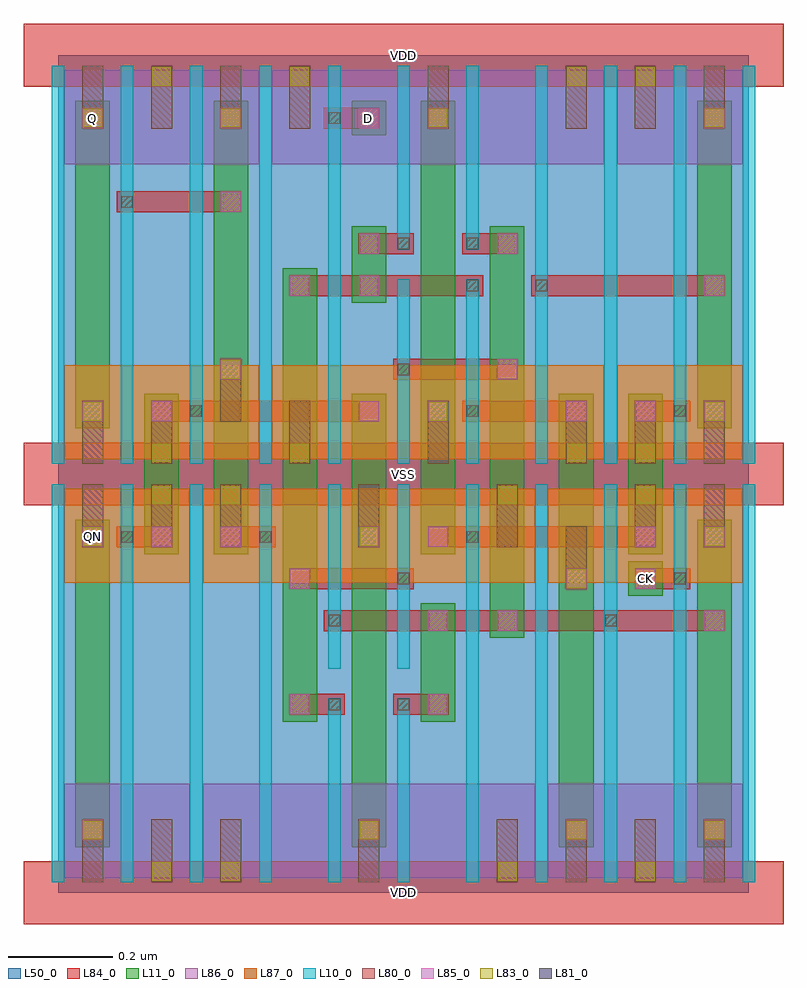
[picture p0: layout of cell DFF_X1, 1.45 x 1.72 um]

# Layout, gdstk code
import gdstk
lib = gdstk.Library(unit=1e-6, precision=1e-09)
def R(c, l, rs):  # rectangles x0, y0, x1, y1
    for r in rs: c.add(gdstk.rectangle(r[:2], r[2:], *l))
def A(c, l, x, y, w, h, nx, ny, dx, dy):  # array of equal rectangles
    R(c, l, [(x+i*dx, y+j*dy, x+i*dx+w, y+j*dy+h) for i in range(nx) for j in range(ny)])
L10_0 = (10, 0)
L11_0 = (11, 0)
L50_0 = (50, 0)
L80_0 = (80, 0)
L81_0 = (81, 0)
L83_0 = (83, 0)
L84_0 = (84, 0)
L85_0 = (85, 0)
L86_0 = (86, 0)
L87_0 = (87, 0)

dff_x1 = lib.new_cell('DFF_X1')
A(dff_x1, L10_0, -0.012, 0.02, 0.024, 0.76, 4, 1, 0.132, 0)
A(dff_x1, L10_0, 0.78, 0.02, 0.024, 0.76, 5, 1, 0.132, 0)
A(dff_x1, L10_0, -0.012, 0.82, 0.024, 0.76, 5, 1, 0.132, 0)
A(dff_x1, L10_0, 0.912, 0.82, 0.024, 0.76, 4, 1, 0.132, 0)
R(dff_x1, L10_0, [(0.516,0.02,0.54,0.372), (0.648,0.02,0.672,0.372), (0.516,0.428,0.54,0.78), (0.648,0.428,0.672,0.78), (0.648,0.82,0.672,1.172), (0.78,0.82,0.804,1.172), (0.648,1.228,0.672,1.58), (0.78,1.228,0.804,1.58)])
R(dff_x1, L11_0, [(0.033,0.087,0.099,0.713), (0.561,0.087,0.627,0.953), (0.957,0.087,1.023,0.953), (1.221,0.087,1.287,0.713), (0.429,0.327,0.495,1.193), (0.693,0.327,0.759,0.553), (0.825,0.487,0.891,1.273), (1.089,0.567,1.155,0.633), (0.165,0.647,0.231,0.953), (0.297,0.647,0.363,1.513), (0.693,0.647,0.759,1.513), (1.089,0.647,1.155,0.953), (0.033,0.887,0.099,1.513), (1.221,0.887,1.287,1.513), (0.561,1.127,0.627,1.273), (0.561,1.447,0.627,1.513)])
R(dff_x1, L50_0, [(0,0,1.32,1.6)])
A(dff_x1, L80_0, 0.046, 0.02, 0.04, 0.12, 3, 2, 0.132, 0.64)
A(dff_x1, L80_0, 0.838, 0.02, 0.04, 0.12, 4, 1, 0.132, 0)
A(dff_x1, L80_0, 0.574, 0.66, 0.04, 0.12, 3, 1, 0.264, 0)
A(dff_x1, L80_0, 0.178, 0.82, 0.04, 0.12, 4, 1, 0.264, 0)
A(dff_x1, L80_0, 0.046, 1.46, 0.04, 0.12, 4, 1, 0.132, 0)
A(dff_x1, L80_0, 0.97, 1.46, 0.04, 0.12, 3, 1, 0.132, 0)
R(dff_x1, L80_0, [(0.574,0.02,0.614,0.14), (0.97,0.58,1.01,0.7), (1.234,0.66,1.274,0.78), (0.046,0.82,0.086,0.94), (1.102,0.82,1.142,0.94), (1.234,0.82,1.274,0.94), (0.31,0.9,0.35,1.02), (0.706,1.46,0.746,1.58)])
A(dff_x1, L81_0, 0.781, 0.669, 0.022, 0.022, 1, 3, 0, 0.24)
R(dff_x1, L81_0, [(0.517,0.349,0.539,0.371), (0.649,0.349,0.671,0.371), (0.517,0.509,0.539,0.531), (1.045,0.509,1.067,0.531), (0.649,0.589,0.671,0.611), (1.177,0.589,1.199,0.611), (0.121,0.669,0.143,0.691), (0.385,0.669,0.407,0.691), (0.253,0.909,0.275,0.931), (1.177,0.909,1.199,0.931), (0.649,0.989,0.671,1.011), (0.913,1.149,0.935,1.171), (0.649,1.229,0.671,1.251), (0.781,1.229,0.803,1.251), (0.121,1.309,0.143,1.331), (0.517,1.469,0.539,1.491)])
R(dff_x1, L83_0, [(0.18,0.022,0.216,0.058), (0.312,0.022,0.348,0.058), (0.84,0.022,0.876,0.058), (1.104,0.022,1.14,0.058), (0.048,0.102,0.084,0.138), (0.576,0.102,0.612,0.138), (0.972,0.102,1.008,0.138), (1.236,0.102,1.272,0.138), (0.972,0.582,1.008,0.618), (0.048,0.662,0.084,0.698), (0.576,0.662,0.612,0.698), (1.236,0.662,1.272,0.698), (0.18,0.742,0.216,0.778), (0.312,0.742,0.348,0.778), (0.84,0.742,0.876,0.778), (1.104,0.742,1.14,0.778), (0.18,0.822,0.216,0.858), (0.444,0.822,0.48,0.858), (0.972,0.822,1.008,0.858), (1.104,0.822,1.14,0.858), (0.048,0.902,0.084,0.938), (0.708,0.902,0.744,0.938), (1.236,0.902,1.272,0.938), (0.312,0.982,0.348,1.018), (0.048,1.462,0.084,1.498), (0.312,1.462,0.348,1.498), (0.708,1.462,0.744,1.498), (1.236,1.462,1.272,1.498), (0.18,1.542,0.216,1.578), (0.444,1.542,0.48,1.578), (0.972,1.542,1.008,1.578), (1.104,1.542,1.14,1.578)])
A(dff_x1, L84_0, -0.066, -0.06, 1.452, 0.12, 1, 3, 0, 0.8)
R(dff_x1, L84_0, [(0.046,0.1,0.086,0.14), (0.574,0.1,0.614,0.14), (0.97,0.1,1.01,0.14), (1.234,0.1,1.274,0.14), (0.442,0.34,0.548,0.38), (0.64,0.34,0.746,0.38), (0.508,0.5,1.274,0.54), (0.442,0.58,0.68,0.62), (0.97,0.58,1.01,0.62), (1.102,0.58,1.208,0.62), (0.046,0.66,0.086,0.7), (0.112,0.66,0.218,0.7), (0.31,0.66,0.416,0.7), (0.574,0.66,0.614,0.7), (0.706,0.66,1.142,0.7), (1.234,0.66,1.274,0.7), (0.046,0.9,0.086,0.94), (0.178,0.9,0.614,0.94), (0.706,0.9,0.746,0.94), (0.772,0.9,1.01,0.94), (1.102,0.9,1.208,0.94), (1.234,0.9,1.274,0.94), (0.31,0.98,0.35,1.02), (0.64,0.98,0.878,1.02), (0.442,1.14,0.812,1.18), (0.904,1.14,1.274,1.18), (0.574,1.22,0.68,1.26), (0.772,1.22,0.878,1.26), (0.112,1.3,0.35,1.34), (0.046,1.46,0.086,1.5), (0.31,1.46,0.35,1.5), (0.508,1.46,0.614,1.5), (0.706,1.46,0.746,1.5), (1.234,1.46,1.274,1.5)])
A(dff_x1, L85_0, 0.707, 0.341, 0.038, 0.038, 1, 3, 0, 0.16)
A(dff_x1, L85_0, 0.047, 0.661, 0.038, 0.038, 3, 1, 0.132, 0)
A(dff_x1, L85_0, 0.575, 0.661, 0.038, 0.038, 1, 3, 0, 0.24)
A(dff_x1, L85_0, 0.971, 0.901, 0.038, 0.038, 3, 1, 0.132, 0)
A(dff_x1, L85_0, 0.047, 1.461, 0.038, 0.038, 3, 1, 0.264, 0)
R(dff_x1, L85_0, [(0.047,0.101,0.085,0.139), (0.575,0.101,0.613,0.139), (0.971,0.101,1.009,0.139), (1.235,0.101,1.273,0.139), (0.443,0.341,0.481,0.379), (0.839,0.501,0.877,0.539), (1.235,0.501,1.273,0.539), (0.443,0.581,0.481,0.619), (0.971,0.581,1.009,0.619), (1.103,0.581,1.141,0.619), (1.103,0.661,1.141,0.699), (1.235,0.661,1.273,0.699), (0.047,0.901,0.085,0.939), (0.179,0.901,0.217,0.939), (0.707,0.901,0.745,0.939), (0.311,0.981,0.349,1.019), (0.839,0.981,0.877,1.019), (0.443,1.141,0.481,1.179), (1.235,1.141,1.273,1.179), (0.575,1.221,0.613,1.259), (0.839,1.221,0.877,1.259), (0.311,1.301,0.349,1.339), (0.707,1.461,0.745,1.499), (1.235,1.461,1.273,1.499)])
R(dff_x1, L86_0, [(0.012,0.028,0.252,0.208), (0.276,0.028,0.912,0.208), (0.936,0.028,1.308,0.208), (0.012,1.392,0.384,1.572), (0.408,1.392,1.044,1.572), (1.068,1.392,1.308,1.572)])
R(dff_x1, L87_0, [(0.012,0.592,0.252,0.772), (0.276,0.592,0.912,0.772), (0.936,0.592,1.308,0.772), (0.012,0.828,0.384,1.008), (0.408,0.828,1.044,1.008), (1.068,0.828,1.308,1.008)])
dff_x1.add(gdstk.Label('VDD', (0.66,1.6), layer=88, texttype=0))
dff_x1.add(gdstk.Label('VDD', (0.66,0), layer=88, texttype=0))
dff_x1.add(gdstk.Label('VSS', (0.66,0.8), layer=88, texttype=0))
dff_x1.add(gdstk.Label('Q', (0.066,1.48), layer=31, texttype=0))
dff_x1.add(gdstk.Label('QN', (0.066,0.68), layer=31, texttype=0))
dff_x1.add(gdstk.Label('D', (0.594,1.48), layer=31, texttype=0))
dff_x1.add(gdstk.Label('CK', (1.122,0.6), layer=31, texttype=0))

lib.write_gds('DFF_X1.gds')
